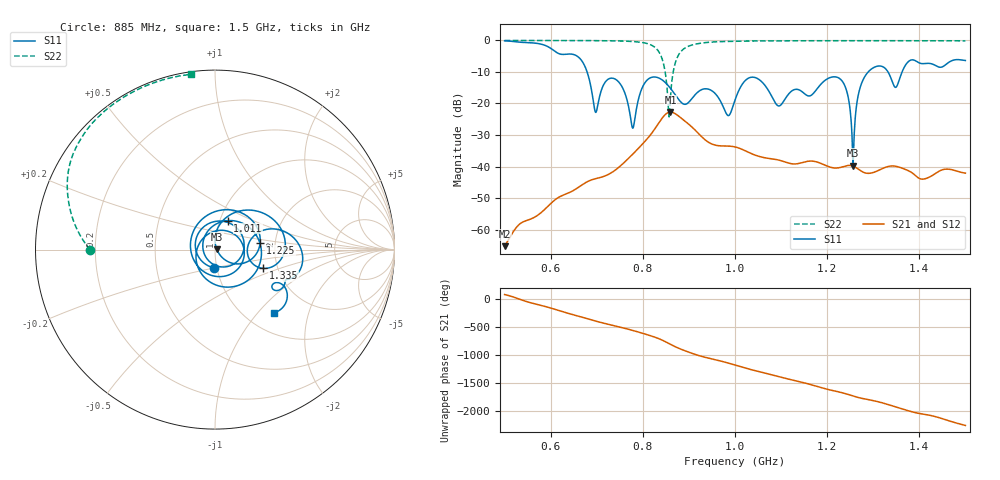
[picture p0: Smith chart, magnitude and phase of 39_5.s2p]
! TOUCHSTONE file generated by CST MICROWAVE STUDIO
! Date and time: Mon Nov 30 08:08:57 2020
! Project name: Scenario_1_Planar_Body_Tissue_Out_of_Line.cst
! Parameters = {dy1=311.4; L_HA=400; Ltissue=700; MT=2.54; Rad_Dielectric=30; Rad_Lower=7.3; Rad_Upper=30; Wtissue=700; a_HA=580; a_WG=246; b_HA=500; b_WG=121; c_HA=0; c_WG=187; d_feed=85; dx1=866; h_feed=15; h_lower=18; h_upper=40; hfat=3; hgap=25; hmuscle=50; hskin=1.5}
! Header version: 2018
! Port assignment regex: !\s*Touchstone port\s*([0-9]+)\s*=\s*(CST MWS port|CST DS port)\s*([0-9]+|Zmin|Zmax)\s*\(\"(.*)\"\)(\s*mode\s*([0-9]+))?.*
! Touchstone port assignment:
! Touchstone port 1 = CST MWS port 1 ("")
! Touchstone port 2 = CST MWS port 2 ("")
# GHz S DB R 50
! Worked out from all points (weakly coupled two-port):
!   1003 points, 500 MHz to 1.5 GHz, reference 50 ohm
!   highest |S21| = -22.71 dB at 860 MHz (marker M1); lowest = -65.3 dB at 500 MHz (marker M2)
!   lowest |S11| = -39.7 dB at 1.256 GHz (marker M3), VSWR 1.02, Z = 51 + j0.0588 ohm
!   |S11| at or under -10 dB: 679 MHz to 1.289 GHz (610 MHz wide, 62 % of centre); 1.332 GHz to 1.363 GHz (30.52 MHz wide, 2.27 % of centre)
!   |S22| runs from -24.3 to 0.0 dB; largest |S21 - S12| = 8.4e-06
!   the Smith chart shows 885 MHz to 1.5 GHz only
!   S11 on the Smith chart (normalised r, x): 885 MHz: 0.97, -0.20; 1.011 GHz: 1.09, +0.36; 1.225 GHz: 1.67, +0.13; 1.335 GHz: 1.68, -0.38; 1.5 GHz: 1.33, -1.22
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0.5  -0.13 -122.1  -65.26 79.8  -65.26 79.8  -0.01 151.1
0.583  -1.33 -167.3  -54.14 -121.3  -54.14 -121.3  -0.02 145.4
0.667  -6.36 125.5  -45.91 41.3  -45.91 41.3  -0.04 138.4
0.697  -22.73 133.2  -43.87 -31.2  -43.87 -31.2  -0.06 135.2
0.738  -12.13 139.7  -41.36 -114.1  -41.36 -114.1  -0.13 129.6
0.778  -27.85 137.9  -36.08 161.7  -36.08 161.7  -0.34 120.8
0.802  -14.02 158.6  -32.42 104.5  -32.42 104.5  -0.74 111.5
0.834  -11.88 77.8  -26.31 17.1  -26.31 17.1  -3.44 82.7
0.86  -15.20 3.9  -22.71 -86.0  -22.71 -86.0  -17.90 -115.5
0.885  -19.88 -94.1  -24.85 -180.0  -24.85 -180.0  -3.15 -180.0
1  -18.94 108.9  -33.78 -94.9  -33.78 -94.9  -0.26 140.1
1.011  -15.07 66.4  -34.28 -121.9  -34.28 -121.9  -0.23 138.7
1.057  -12.97 -68.2  -36.97 139.0  -36.96 139.0  -0.15 133.6
1.094  -20.77 145.4  -37.92 61.4  -37.92 61.4  -0.13 130.2
1.167  -17.23 173.7  -38.27 -89.7  -38.27 -89.7  -0.10 124.1
1.225  -11.89 8.5  -40.41 148.2  -40.41 148.2  -0.08 119.7
1.243  -16.37 -31.8  -39.71 109.3  -39.71 109.3  -0.09 118.3
1.256  -39.68 3.2  -39.86 75.7  -39.86 75.7  -0.09 117.4
1.282  -11.39 54.2  -42.00 22.0  -42.00 22.0  -0.08 115.4
1.334  -10.51 -20.5  -39.92 -81.9  -39.92 -81.9  -0.09 111.5
1.335  -10.80 -21.2  -39.90 -84.5  -39.90 -84.5  -0.09 111.4
1.5  -6.37 -47.2  -42.10 -88.9  -42.10 -88.9  -0.13 97.9
